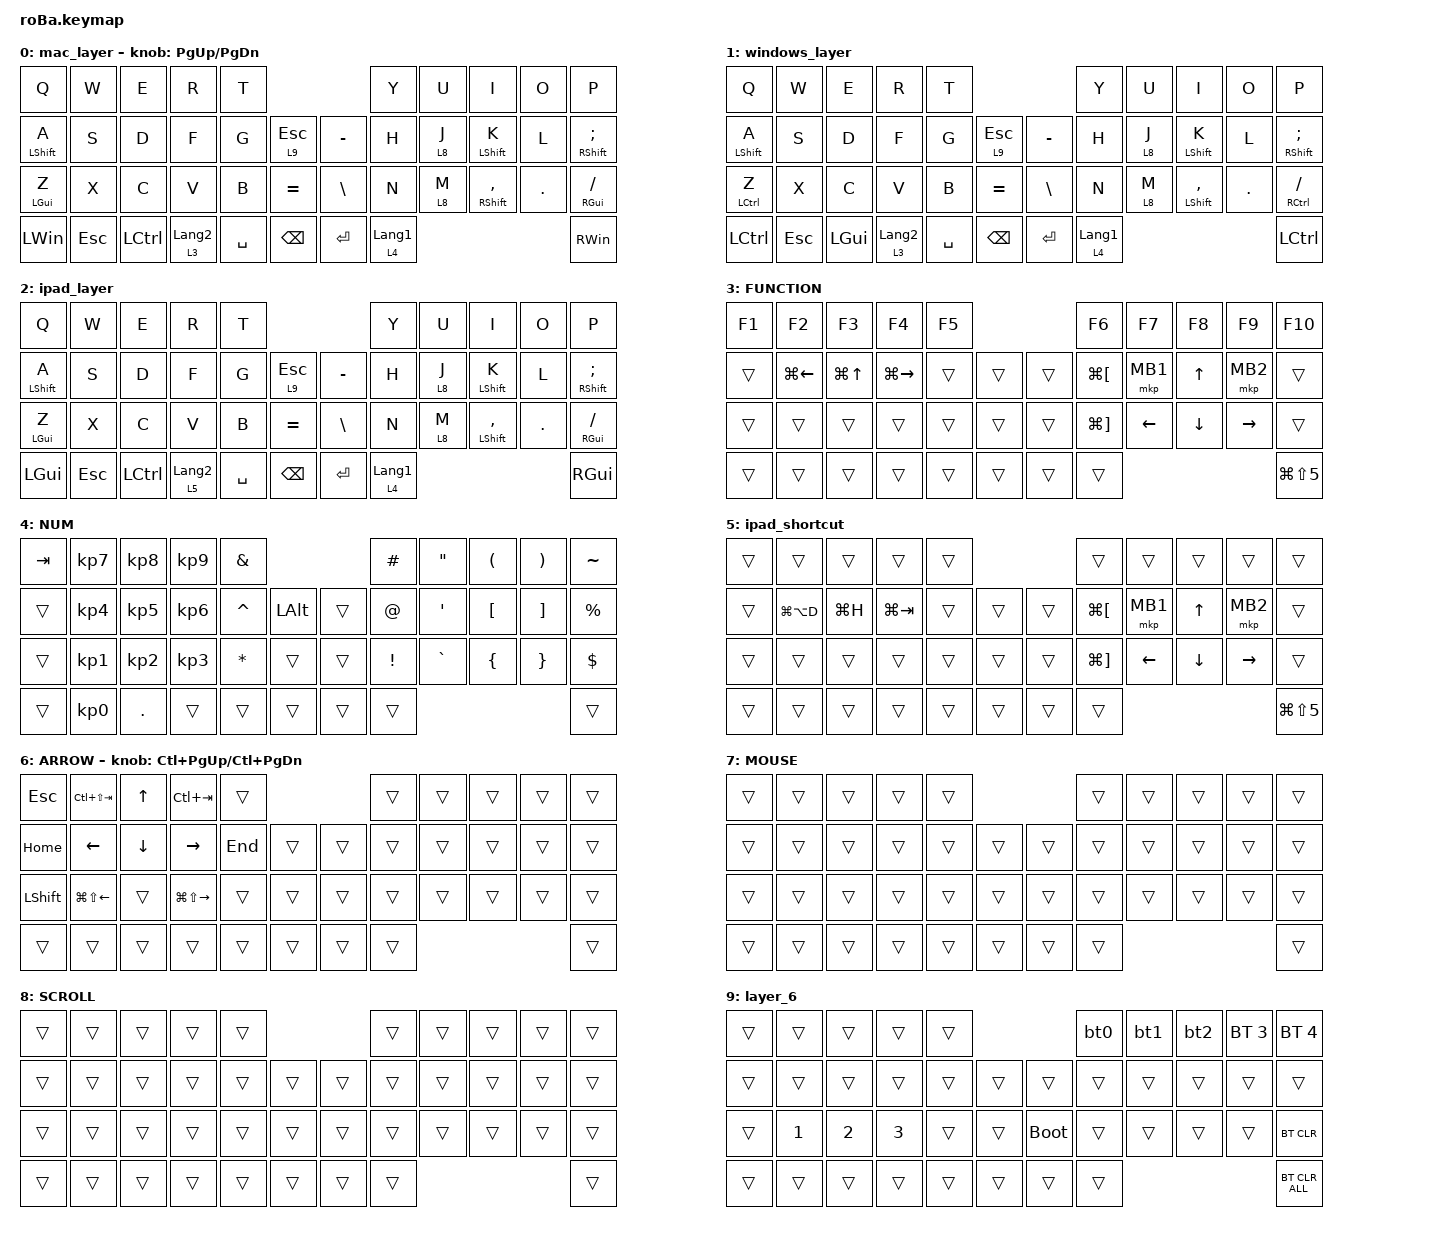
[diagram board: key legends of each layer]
#include <behaviors.dtsi>
#include <dt-bindings/zmk/bt.h>
#include <dt-bindings/zmk/keys.h>
#include <dt-bindings/zmk/pointing.h>

&mt {
    flavor = "balanced";
    quick-tap-ms = <0>;
};

&trackball {
    automouse-layer = <7>;
    scroll-layers = <8>;

    // arrows {
    //     layers = <6>;
    //     bindings =
    //         <&kp RIGHT_ARROW>,
    //         <&kp LEFT_ARROW>,
    //         <&kp UP_ARROW>,
    //         <&kp DOWN_ARROW>;
    //     tick = <10>;
    //     wait-ms = <5>;
    //     tap-ms = <5>;
    // };
};

/ {
    combos {
        compatible = "zmk,combos";

        tab {
            bindings = <&kp TAB>;
            key-positions = <11 12>;
        };

        shift_tab {
            bindings = <&kp LS(TAB)>;
            key-positions = <12 13>;
        };

        muhennkann {
            bindings = <&to_layer_0 INT_MUHENKAN>;
            key-positions = <11 10>;
        };

        double_quotation {
            bindings = <&kp DOUBLE_QUOTES>;
            key-positions = <20 21>;
        };

        eq {
            bindings = <&kp EQUAL>;
            key-positions = <24 25>;
        };
    };

    macros {
        to_layer_0: to_layer_0 {
            compatible = "zmk,behavior-macro-one-param";
            #binding-cells = <1>;
            bindings = <&to 0 &macro_param_1to1 &kp MACRO_PLACEHOLDER>;
            label = "TO_LAYER_0";
        };

        screenshot: screenshot {
            compatible = "zmk,behavior-macro";
            #binding-cells = <0>;
            bindings = <&kp LEFT_WIN &kp LEFT_SHIFT &kp NUMBER_5>;
            label = "SCREENSHOT";
        };

        bt0: bt0 {
            compatible = "zmk,behavior-macro";
            #binding-cells = <0>;
            bindings =
                <&tog_off 1 &tog_off 2>,
                <&macro_wait_time 200>,
                <&bt BT_SEL 0>,
                <&macro_wait_time 500>;

            label = "BT0";
        };

        bt1: bt1 {
            compatible = "zmk,behavior-macro";
            #binding-cells = <0>;
            bindings =
                <&tog_off 1 &tog_off 2>,
                <&macro_wait_time 200>,
                <&bt BT_SEL 1>,
                <&macro_wait_time 500>,
                <&tog_on 1>;

            label = "BT1";
        };

        bt2: bt2 {
            compatible = "zmk,behavior-macro";
            #binding-cells = <0>;
            bindings =
                <&tog_off 1 &tog_off 2>,
                <&macro_wait_time 200>,
                <&bt BT_SEL 2>,
                <&macro_wait_time 500>,
                <&tog_on 2>;

            label = "BT2";
        };
    };

    behaviors {
        lt_to_layer_0: lt_to_layer_0 {
            compatible = "zmk,behavior-hold-tap";
            label = "LAYER_TAP_TO_0";
            bindings = <&mo>, <&to_layer_0>;

            #binding-cells = <2>;
            tapping-term-ms = <200>;
        };

        tog_on: toggle_layer_on_only {
            compatible = "zmk,behavior-toggle-layer";
            #binding-cells = <1>;
            display-name = "Toggle Layer On";
            toggle-mode = "on";
        };

        tog_off: toggle_layer_off_only {
            compatible = "zmk,behavior-toggle-layer";
            #binding-cells = <1>;
            display-name = "Toggle Layer Off";
            toggle-mode = "off";
        };
    };

    keymap {
        compatible = "zmk,keymap";

        mac_layer {
            bindings = <
&kp Q             &kp W       &kp E             &kp R             &kp T                                        &kp Y             &kp U    &kp I                  &kp O    &kp P
&mt LEFT_SHIFT A  &kp S       &kp D             &kp F             &kp G      &lt 9 ESCAPE       &kp MINUS      &kp H             &lt 8 J  &mt LEFT_SHIFT K       &kp L    &mt RIGHT_SHIFT SEMICOLON
&mt LEFT_GUI Z    &kp X       &kp C             &kp V             &kp B      &kp EQUAL          &kp BACKSLASH  &kp N             &lt 8 M  &mt RIGHT_SHIFT COMMA  &kp DOT  &mt RIGHT_GUI SLASH
&kp LEFT_WIN      &kp ESCAPE  &kp LEFT_CONTROL  &lt 3 LANGUAGE_2  &kp SPACE  &kp BACKSPACE      &kp ENTER      &lt 4 LANGUAGE_1                                           &kp RIGHT_WIN
            >;

            sensor-bindings = <&inc_dec_kp PAGE_UP PAGE_DOWN>;
        };

        windows_layer {
            bindings = <
&kp Q               &kp W    &kp E     &kp R             &kp T                                   &kp Y             &kp U    &kp I                 &kp O    &kp P
&mt LEFT_SHIFT A    &kp S    &kp D     &kp F             &kp G      &lt 9 ESCAPE      &kp MINUS  &kp H             &lt 8 J  &mt LEFT_SHIFT K      &kp L    &mt RIGHT_SHIFT SEMICOLON
&mt LEFT_CONTROL Z  &kp X    &kp C     &kp V             &kp B      &kp EQUAL         &kp BSLH   &kp N             &lt 8 M  &mt LEFT_SHIFT COMMA  &kp DOT  &mt RIGHT_CONTROL SLASH
&kp LCTRL           &kp ESC  &kp LGUI  &lt 3 LANGUAGE_2  &kp SPACE  &kp BSPC          &kp ENTER  &lt 4 LANGUAGE_1                                          &kp LCTRL
            >;
        };

        ipad_layer {
            bindings = <
&kp Q             &kp W    &kp E      &kp R             &kp T                                   &kp Y             &kp U    &kp I                 &kp O    &kp P
&mt LEFT_SHIFT A  &kp S    &kp D      &kp F             &kp G      &lt 9 ESCAPE      &kp MINUS  &kp H             &lt 8 J  &mt LEFT_SHIFT K      &kp L    &mt RIGHT_SHIFT SEMICOLON
&mt LEFT_GUI Z    &kp X    &kp C      &kp V             &kp B      &kp EQUAL         &kp BSLH   &kp N             &lt 8 M  &mt LEFT_SHIFT COMMA  &kp DOT  &mt RIGHT_GUI SLASH
&kp LGUI          &kp ESC  &kp LCTRL  &lt 5 LANGUAGE_2  &kp SPACE  &kp BSPC          &kp ENTER  &lt 4 LANGUAGE_1                                          &kp RGUI
            >;
        };

        FUNCTION {
            bindings = <
&kp F1  &kp F2        &kp F3      &kp F4         &kp F5                      &kp F6                 &kp F7    &kp F8    &kp F9     &kp F10
&trans  &kp LG(LEFT)  &kp LG(UP)  &kp LG(RIGHT)  &trans  &trans      &trans  &kp LG(LEFT_BRACKET)   &mkp MB1  &kp UP    &mkp MB2   &trans
&trans  &trans        &trans      &trans         &trans  &trans      &trans  &kp LG(RIGHT_BRACKET)  &kp LEFT  &kp DOWN  &kp RIGHT  &trans
&trans  &trans        &trans      &trans         &trans  &trans      &trans  &trans                                                &kp LG(LS(NUMBER_5))
            >;
        };

        NUM {
            bindings = <
&kp TAB  &kp KP_NUMBER_7  &kp KP_NUMBER_8  &kp KP_NUMBER_9  &kp AMPERSAND                            &kp HASH         &kp DOUBLE_QUOTES  &kp LEFT_PARENTHESIS  &kp RIGHT_PARENTHESIS  &kp TILDE
&trans   &kp KP_NUMBER_4  &kp KP_NUMBER_5  &kp KP_NUMBER_6  &kp CARET      &kp LEFT_ALT      &trans  &kp AT_SIGN      &kp SQT            &kp LEFT_BRACKET      &kp RIGHT_BRACKET      &kp PERCENT
&trans   &kp KP_NUMBER_1  &kp KP_NUMBER_2  &kp KP_NUMBER_3  &kp ASTERISK   &trans            &trans  &kp EXCLAMATION  &kp GRAVE          &kp LEFT_BRACE        &kp RIGHT_BRACE        &kp DOLLAR
&trans   &kp KP_NUMBER_0  &kp PERIOD       &trans           &trans         &trans            &trans  &trans                                                                           &trans
            >;
        };

        ipad_shortcut {
            bindings = <
&trans  &trans         &trans     &trans       &trans                      &trans                 &trans    &trans    &trans     &trans
&trans  &kp LG(LA(D))  &kp LG(H)  &kp LG(TAB)  &trans  &trans      &trans  &kp LG(LEFT_BRACKET)   &mkp MB1  &kp UP    &mkp MB2   &trans
&trans  &trans         &trans     &trans       &trans  &trans      &trans  &kp LG(RIGHT_BRACKET)  &kp LEFT  &kp DOWN  &kp RIGHT  &trans
&trans  &trans         &trans     &trans       &trans  &trans      &trans  &trans                                                &kp LG(LS(N5))
            >;
        };

        ARROW {
            bindings = <
&kp ESCAPE      &kp LC(LS(TAB))         &kp UP_ARROW    &kp LC(TAB)              &trans                       &trans  &trans  &trans  &trans  &trans
&kp HOME        &kp LEFT_ARROW          &kp DOWN_ARROW  &kp RIGHT_ARROW          &kp END  &trans      &trans  &trans  &trans  &trans  &trans  &trans
&kp LEFT_SHIFT  &kp LG(LS(LEFT_ARROW))  &trans          &kp LG(LS(RIGHT_ARROW))  &trans   &trans      &trans  &trans  &trans  &trans  &trans  &trans
&trans          &trans                  &trans          &trans                   &trans   &trans      &trans  &trans                          &trans
            >;

            sensor-bindings = <&inc_dec_kp LC(PAGE_UP) LC(PAGE_DOWN)>;
        };

        MOUSE {
            bindings = <
&trans  &trans  &trans  &trans  &trans                      &trans  &trans  &trans  &trans  &trans
&trans  &trans  &trans  &trans  &trans  &trans      &trans  &trans  &trans  &trans  &trans  &trans
&trans  &trans  &trans  &trans  &trans  &trans      &trans  &trans  &trans  &trans  &trans  &trans
&trans  &trans  &trans  &trans  &trans  &trans      &trans  &trans                          &trans
            >;
        };

        SCROLL {
            bindings = <
&trans  &trans  &trans  &trans  &trans                      &trans  &trans  &trans  &trans  &trans
&trans  &trans  &trans  &trans  &trans  &trans      &trans  &trans  &trans  &trans  &trans  &trans
&trans  &trans  &trans  &trans  &trans  &trans      &trans  &trans  &trans  &trans  &trans  &trans
&trans  &trans  &trans  &trans  &trans  &trans      &trans  &trans                          &trans
            >;
        };

        layer_6 {
            bindings = <
&trans  &trans        &trans        &trans        &trans                           &bt0    &bt1    &bt2    &bt BT_SEL 3  &bt BT_SEL 4
&trans  &trans        &trans        &trans        &trans  &trans      &trans       &trans  &trans  &trans  &trans        &trans
&trans  &kp NUMBER_1  &kp NUMBER_2  &kp NUMBER_3  &trans  &trans      &bootloader  &trans  &trans  &trans  &trans        &bt BT_CLR
&trans  &trans        &trans        &trans        &trans  &trans      &trans       &trans                                &bt BT_CLR_ALL
            >;
        };
    };
};
